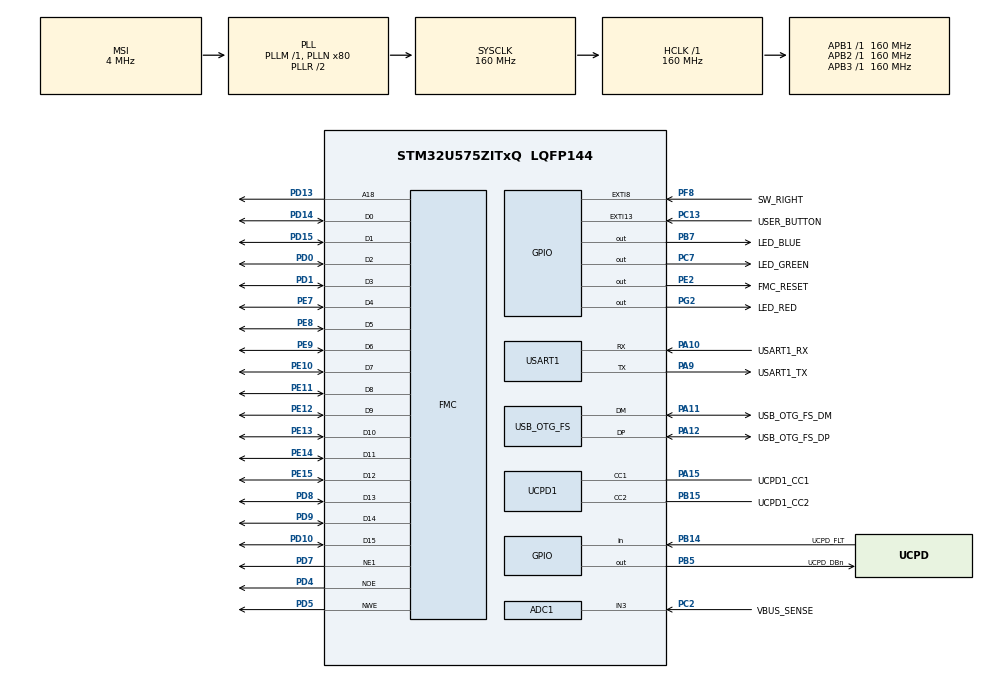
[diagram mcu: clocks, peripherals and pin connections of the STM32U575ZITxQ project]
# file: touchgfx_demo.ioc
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ADC1.NbrOfConversion=1
ADC1.Resolution=ADC_RESOLUTION_14B
ADC1.master=1
CORTEX_M33_NS.userName=CORTEX_M33
DMA2D.ColorMode=DMA2D_OUTPUT_RGB565
FMC.AddressSetupTime1=7
FMC.DataHoldTime1=3
FMC.DataSetupTime1=3
FMC.WriteFifo1=FMC_WRITE_FIFO_DISABLE
Mcu.Family=STM32U5
Mcu.Name=STM32U575ZITxQ
Mcu.Package=LQFP144
NVIC.EXTI13_IRQn=true\:0\:0\:false\:false\:true\:false\:true\:true\:true
NVIC.EXTI8_IRQn=true\:0\:0\:false\:false\:true\:false\:true\:true\:true
NVIC.OTG_FS_IRQn=true\:0\:0\:false\:false\:true\:false\:true\:true\:true
NVIC.PriorityGroup=NVIC_PRIORITYGROUP_3
NVIC.TIM1_UP_IRQn=true\:7\:0\:false\:false\:true\:false\:false\:true\:true
NVIC.TimeBase=TIM1_UP_IRQn
NVIC.TimeBaseIP=TIM1
PA10.GPIO_Label=USART1_RX
PA10.GPIO_PuPd=GPIO_PULLDOWN
PA10.GPIO_Speed=GPIO_SPEED_FREQ_VERY_HIGH
PA10.Mode=Asynchronous
PA10.Signal=USART1_RX
PA11.GPIO_Label=USB_OTG_FS_DM
PA11.GPIO_Speed=GPIO_SPEED_FREQ_VERY_HIGH
PA11.Mode=Device_Only
PA11.Signal=USB_OTG_FS_DM
PA12.GPIO_Label=USB_OTG_FS_DP
PA12.GPIO_Speed=GPIO_SPEED_FREQ_VERY_HIGH
PA12.Mode=Device_Only
PA12.Signal=USB_OTG_FS_DP
PA13\ (JTMS/SWDIO).Mode=Trace_Asynchronous_SW
PA13\ (JTMS/SWDIO).Signal=DEBUG_JTMS-SWDIO
PA14\ (JTCK/SWCLK).Mode=Trace_Asynchronous_SW
PA14\ (JTCK/SWCLK).Signal=DEBUG_JTCK-SWCLK
PA15\ (JTDI).GPIO_Label=UCPD1_CC1
PA15\ (JTDI).Mode=Sink_AllSignals
PA15\ (JTDI).Signal=UCPD1_CC1
PA9.GPIO_Label=USART1_TX
PA9.GPIO_PuPd=GPIO_PULLDOWN
PA9.GPIO_Speed=GPIO_SPEED_FREQ_VERY_HIGH
PA9.Mode=Asynchronous
PA9.Signal=USART1_TX
PB14.GPIO_Label=UCPD_FLT
PB14.Signal=GPIO_Input
PB15.GPIO_Label=UCPD1_CC2
PB15.Mode=Sink_AllSignals
PB15.Signal=UCPD1_CC2
PB3\ (JTDO/TRACESWO).Mode=Trace_Asynchronous_SW
PB3\ (JTDO/TRACESWO).Signal=DEBUG_JTDO-SWO
PB5.GPIO_Label=UCPD_DBn
PB5.Signal=GPIO_Output
PB7.GPIO_Label=LED_BLUE
PB7.GPIO_ModeDefaultOutputPP=GPIO_MODE_OUTPUT_PP
PB7.GPIO_PuPd=GPIO_PULLUP
PB7.GPIO_Speed=GPIO_SPEED_FREQ_HIGH
PB7.Signal=GPIO_Output
PC13.GPIO_Label=USER_BUTTON
PC13.GPIO_ModeDefaultEXTI=GPIO_MODE_IT_FALLING
PC13.Signal=GPXTI13
PC14-OSC32_IN\ (PC14).Mode=LSE-External-Oscillator
PC14-OSC32_IN\ (PC14).Signal=RCC_OSC32_IN
PC15-OSC32_OUT\ (PC15).Mode=LSE-External-Oscillator
PC15-OSC32_OUT\ (PC15).Signal=RCC_OSC32_OUT
PC2.GPIO_Label=VBUS_SENSE
PC2.Mode=IN3-Single-Ended
PC2.Signal=ADC1_IN3
PC7.GPIO_Label=LED_GREEN
PC7.GPIO_PuPd=GPIO_PULLUP
PC7.GPIO_Speed=GPIO_SPEED_FREQ_HIGH
PC7.Signal=GPIO_Output
PD0.Signal=FMC_D2_DA2
PD1.Signal=FMC_D3_DA3
PD10.Signal=FMC_D15_DA15
PD13.Signal=FMC_A18
PD14.Signal=FMC_D0_DA0
PD15.Signal=FMC_D1_DA1
PD4.Signal=FMC_NOE
PD5.Signal=FMC_NWE
PD7.Mode=NorPsramChipSelect1_1
PD7.Signal=FMC_NE1
PD8.Signal=FMC_D13_DA13
PD9.Signal=FMC_D14_DA14
PE10.Signal=FMC_D7_DA7
PE11.Signal=FMC_D8_DA8
PE12.Signal=FMC_D9_DA9
PE13.Signal=FMC_D10_DA10
PE14.Signal=FMC_D11_DA11
PE15.Signal=FMC_D12_DA12
PE2.GPIO_Label=FMC_RESET
PE2.Signal=GPIO_Output
PE7.Signal=FMC_D4_DA4
PE8.Signal=FMC_D5_DA5
PE9.Signal=FMC_D6_DA6
PF8.GPIO_Label=SW_RIGHT
PF8.Signal=GPXTI8
PG2.GPIO_Label=LED_RED
PG2.GPIO_ModeDefaultOutputPP=GPIO_MODE_OUTPUT_PP
PG2.GPIO_PuPd=GPIO_PULLUP
PG2.GPIO_Speed=GPIO_SPEED_FREQ_HIGH
PG2.Signal=GPIO_Output
PWR.PowerMode=PWR_SMPS_SUPPLY
ProjectManager.HeapSize=0x200
ProjectManager.StackSize=0x400
ProjectManager.TargetToolchain=STM32CubeIDE
RCC.ADCFreq_Value=16000000
RCC.AHBFreq_Value=160000000
RCC.APB1Freq_Value=160000000
RCC.APB1TimFreq_Value=160000000
RCC.APB2Freq_Value=160000000
RCC.APB2TimFreq_Value=160000000
RCC.APB3Freq_Value=160000000
RCC.CortexFreq_Value=160000000
RCC.DACCLockSelectionVirtual=RCC_DAC1CLKSOURCE_LSI
RCC.DACCLockSelectionVirtualString=RCC_DAC1CLKSOURCE_LSI
RCC.EPOD_VALUE=4000000
RCC.HCLKFreq_Value=160000000
RCC.HSE_VALUE=16000000
RCC.HSI48_VALUE=48000000
RCC.HSI_VALUE=16000000
RCC.LSIDIV_VALUE=32000
RCC.MSI_VALUE=4000000
RCC.PLLN=80
RCC.SYSCLKFreq_VALUE=160000000
RCC.SYSCLKSource=RCC_SYSCLKSOURCE_PLLCLK
RCC.USBFreq_Value=48000000
RCC.VCOOutputFreq_Value=320000000
SH.FMC_A18.0=FMC_A18,A18_1
SH.FMC_D0_DA0.0=FMC_D0,16b-d1
SH.FMC_D10_DA10.0=FMC_D10,16b-d1
SH.FMC_D11_DA11.0=FMC_D11,16b-d1
SH.FMC_D12_DA12.0=FMC_D12,16b-d1
SH.FMC_D13_DA13.0=FMC_D13,16b-d1
SH.FMC_D14_DA14.0=FMC_D14,16b-d1
SH.FMC_D15_DA15.0=FMC_D15,16b-d1
SH.FMC_D1_DA1.0=FMC_D1,16b-d1
SH.FMC_D2_DA2.0=FMC_D2,16b-d1
SH.FMC_D3_DA3.0=FMC_D3,16b-d1
SH.FMC_D4_DA4.0=FMC_D4,16b-d1
SH.FMC_D5_DA5.0=FMC_D5,16b-d1
SH.FMC_D6_DA6.0=FMC_D6,16b-d1
SH.FMC_D7_DA7.0=FMC_D7,16b-d1
SH.FMC_D8_DA8.0=FMC_D8,16b-d1
SH.FMC_D9_DA9.0=FMC_D9,16b-d1
SH.FMC_NOE.0=FMC_NOE,Lcd1
SH.FMC_NWE.0=FMC_NWE,Lcd1
STMicroelectronics.X-CUBE-TOUCHGFX.4.20.0.ApplicationCcGraphicsJjApplication=TouchGFXOoGenerator
STMicroelectronics.X-CUBE-TOUCHGFX.4.20.0.tgfx_custom_height=320
STMicroelectronics.X-CUBE-TOUCHGFX.4.20.0.tgfx_custom_width=240
STMicroelectronics.X-CUBE-TOUCHGFX.4.20.0.tgfx_display_interface=disp_fmc
STMicroelectronics.X-CUBE-TOUCHGFX.4.20.0.tgfx_hardware_accelerator=dma_2d
STMicroelectronics.X-CUBE-TOUCHGFX.4.20.0.tgfx_location=Allocate
STMicroelectronics.X-CUBE-TOUCHGFX.4.20.0.tgfx_oswrapper=ThreadX
STMicroelectronics.X-CUBE-TOUCHGFX.4.20.0.tgfx_pixel_format=RGB565\:16
STMicroelectronics.X-CUBE-TOUCHGFX.4.20.0_IsPackSelfContextualization=true
THREADX.AZRTOS_APP_MEM_ALLOCATION_METHOD=0
THREADX.TX_TIMER_TICKS_PER_SECOND=100
USART1.VirtualMode-Asynchronous=VM_ASYNC
USB_OTG_FS.VirtualMode=Device_Only
VP_CRC_VS_CRC.Mode=CRC_Activate
VP_DMA2D_VS_DMA2D.Mode=DMA2D_Activate
VP_ICACHE_VS_ENABLE_ICACHE_MEMORY.Mode=Memoryregions
VP_LPBAMQUEUE_VS_QUEUE.Mode=QUEUEMODE
VP_LPBAM_VS_SIG1.Mode=SmartRun
VP_LPBAM_VS_SIG4.Mode=LPDMA1
VP_PWR_VS_DBSignals.Mode=DisableDeadBatterySignals
VP_PWR_VS_LPOM.Mode=PowerOptimisation
VP_PWR_VS_SECSignals.Mode=Security/Privilege
VP_STMicroelectronics.X-CUBE-TOUCHGFX_VS_GraphicsJjApplication_4.20.0.Mode=GraphicsJjApplication
VP_SYS_VS_tim1.Mode=TIM1
VP_THREADX_VS_RTOSJjThreadXJjCoreJjDefault.Mode=Core_Default
VP_THREADX_VS_RTOSJjThreadXJjLow_Power_Support.Mode=Low_Power_Support
VP_THREADX_VS_RTOSJjThreadXJjPerformance_InfoJjDefault.Mode=Performance_Default
VP_THREADX_VS_RTOSJjThreadXJjTraceX_SupportJjDefault.Mode=TraceX_Support_Default
board=NUCLEO-U575ZI-Q

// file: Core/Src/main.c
/* USER CODE BEGIN Header */
/**
  ******************************************************************************
  * @file           : main.c
  * @brief          : Main program body
  ******************************************************************************
  * @attention
  *
  * Copyright (c) 2022 STMicroelectronics.
  * All rights reserved.
  *
  * This software is licensed under terms that can be found in the LICENSE file
  * in the root directory of this software component.
  * If no LICENSE file comes with this software, it is provided AS-IS.
  *
  ******************************************************************************
  */
/* USER CODE END Header */
#include "main.h"
#include "app_threadx.h"
#include "app_touchgfx.h"

/* USER CODE BEGIN Includes */
#include "my_image.h"
/* USER CODE END Includes */

ADC_HandleTypeDef hadc1;

CRC_HandleTypeDef hcrc;

DMA2D_HandleTypeDef hdma2d;

UART_HandleTypeDef huart1;

PCD_HandleTypeDef hpcd_USB_OTG_FS;

SRAM_HandleTypeDef hsram1;

void SystemClock_Config(void);
static void SystemPower_Config(void);
static void MX_GPIO_Init(void);
static void MX_ADC1_Init(void);
static void MX_UCPD1_Init(void);
static void MX_USART1_UART_Init(void);
static void MX_USB_OTG_FS_PCD_Init(void);
static void MX_FMC_Init(void);
static void MX_CRC_Init(void);
static void MX_ICACHE_Init(void);
static void MX_DMA2D_Init(void);

int main(void)
{

  /* MCU Configuration--------------------------------------------------------*/

  /* Reset of all peripherals, Initializes the Flash interface and the Systick. */
  HAL_Init();

  /* Configure the system clock */
  SystemClock_Config();

  /* Configure the System Power */
  SystemPower_Config();

  /* Initialize all configured peripherals */
  MX_GPIO_Init();
  MX_ADC1_Init();
  MX_UCPD1_Init();
  MX_USART1_UART_Init();
  MX_USB_OTG_FS_PCD_Init();
  MX_FMC_Init();
  MX_CRC_Init();
  MX_ICACHE_Init();
  MX_DMA2D_Init();
  /* Call PreOsInit function */
  MX_TouchGFX_PreOSInit();
  /* USER CODE BEGIN 2 */

  ST7789V_init();
  ST7789V_SEND_COMMAND(ST7789V_RAMWR);
  /* USER CODE END 2 */

  MX_ThreadX_Init();

  /* We should never get here as control is now taken by the scheduler */
  /* Infinite loop */
  /* USER CODE BEGIN WHILE */
  int round_num = 0;

  while (1)
  {
    /* USER CODE END WHILE */

    /* USER CODE BEGIN 3 */

	  HAL_GPIO_WritePin(LED_BLUE_GPIO_Port, LED_BLUE_Pin, 1);
	  HAL_Delay(500);
	  HAL_GPIO_WritePin(LED_BLUE_GPIO_Port, LED_BLUE_Pin, 0);
	  HAL_Delay(3000);

	  if(round_num == 0)
	  {/*
		  ST7789V_SEND_COMMAND(ST7789V_RAMWR);

		  ST7789V_SEND_COMMAND(ST7789V_CASET);
		  ST7789V_SEND_DATA(0x00);
		  ST7789V_SEND_DATA(0x00);
		  ST7789V_SEND_DATA(0x00);
		  ST7789V_SEND_DATA(0xF0);

		  ST7789V_SEND_COMMAND(ST7789V_RAMWR);

		  ST7789V_SEND_COMMAND(ST7789V_RASET);
		  ST7789V_SEND_DATA(0x00);
		  ST7789V_SEND_DATA(0x14);
		  ST7789V_SEND_DATA(0x01);
		  ST7789V_SEND_DATA(0x40);

		  ST7789V_SEND_COMMAND(ST7789V_RAMWR);

		  for(int i = 0; i<ST7789V_PIXEL_COUNT; i++)
		  {
			  ST7789V_SEND_DATA(COLOR_RED);
		  }*/
		  ST7789V_fill(COLOR_RED);
		  round_num++;
		  HAL_Delay(500);
	  }
	  else
	  {
		  //ST7789V_fillCircle(100, 100, 50, COLOR_BLACK);
		  ST7789V_drawCircle(100, 100, 50, COLOR_WHITE);
		  ST7789V_drawFastVLine(150, 80, 100, COLOR_WHITE);
//		  ST7789V_drawLine(10, 10, 100, 10, COLOR_BLACK);
//		  ST7789V_drawLine(10, 10, 50, 100, COLOR_WHITE);
//		  ST7789V_drawLine(50, 100, 100, 10, COLOR_GREEN);
		  //ST7789V_drawTriangle(10, 10, 100, 10, 50, 200, COLOR_BLACK);
		  //ST7789V_fillRect(100, 100, 200, 300, COLOR_BLACK);
/*		  for(int i = 0; i < 100; i++)
		  {
			  for(int j = 0; j<200; j++)
			  {
				  ST7789V_drawPixel(i, j, COLOR_WHITE);
			  }
		  }
*/		  HAL_Delay(500);
		  round_num = 0;
	  }
/*
	  else if(round_num == 1)
	  {
	  	  for(int i = 0; i<ST7789V_PIXEL_COUNT; i++)
	  	  {
	  		  ST7789V_SEND_DATA(COLOR_GREEN);
	  	  }
	  	  round_num++;
	  }

	  else if(round_num == 2)
	  {
	  	  for(int i = 0; i<ST7789V_PIXEL_COUNT; i++)
	  	  {
	  		  ST7789V_SEND_DATA(COLOR_BLUE);
	  	  }
	  	  round_num++;
	  }

	  else if(round_num == 3)
	  {
	   	  for(int i = 0; i<ST7789V_PIXEL_COUNT; i++)
	   	  {
	   		  ST7789V_SEND_DATA(COLOR_WHITE);
	   	  }
	   	  round_num++;
	   	  round_num = 0;
	  }
/*
	  else if(round_num == 1)
	  {
*/	  	  for(int i = 0; i<ST7789V_PIXEL_COUNT; i++)
	   	  {
	   		  ST7789V_SEND_DATA(kuhmuh[i]);
	   	  }
	  	  HAL_Delay(500);
	   	  //round_num = 0;
/*	  }

/*	  for(int i = 0; i<ST7789V_PIXEL_COUNT/5; i++)
	  	   	  {
	  	   		  ST7789V_SEND_DATA(COLOR_BLACK);
	  	   	  }

	  for(int i = (ST7789V_PIXEL_COUNT/5)+1; i<(2*ST7789V_PIXEL_COUNT/5); i++)
	  	   	  {
	  	   		  ST7789V_SEND_DATA(COLOR_WHITE);
	  	   	  }
	  for(int i = (2*ST7789V_PIXEL_COUNT/5)+1; i<(3*ST7789V_PIXEL_COUNT/5); i++)
	  	  	  {
	 	   		  ST7789V_SEND_DATA(COLOR_RED);
	  	  	   }

	  for(int i = (3*ST7789V_PIXEL_COUNT/5)+1; i<(4*ST7789V_PIXEL_COUNT/5); i++)
	  	   	  {
	  	  		 ST7789V_SEND_DATA(COLOR_GREEN);
	  	   	  }
	  for(int i = (4*ST7789V_PIXEL_COUNT/5)+1; i<ST7789V_PIXEL_COUNT; i++)
	  	  	  {
	  	  		 ST7789V_SEND_DATA(COLOR_BLUE);
	  	  	  }
	  	  	  */

	  HAL_GPIO_WritePin(LED_RED_GPIO_Port, LED_RED_Pin, 1);
	  HAL_Delay(500);
	  HAL_GPIO_WritePin(LED_RED_GPIO_Port, LED_RED_Pin, 0);

  }
  /* USER CODE END 3 */
}

void SystemClock_Config(void)
{
  RCC_OscInitTypeDef RCC_OscInitStruct = {0};
  RCC_ClkInitTypeDef RCC_ClkInitStruct = {0};

  /** Configure the main internal regulator output voltage
  */
  if (HAL_PWREx_ControlVoltageScaling(PWR_REGULATOR_VOLTAGE_SCALE1) != HAL_OK)
  {
    Error_Handler();
  }

  /** Initializes the CPU, AHB and APB buses clocks
  */
  RCC_OscInitStruct.OscillatorType = RCC_OSCILLATORTYPE_HSI48|RCC_OSCILLATORTYPE_HSI
                              |RCC_OSCILLATORTYPE_MSI;
  RCC_OscInitStruct.HSIState = RCC_HSI_ON;
  RCC_OscInitStruct.HSI48State = RCC_HSI48_ON;
  RCC_OscInitStruct.HSICalibrationValue = RCC_HSICALIBRATION_DEFAULT;
  RCC_OscInitStruct.MSIState = RCC_MSI_ON;
  RCC_OscInitStruct.MSICalibrationValue = RCC_MSICALIBRATION_DEFAULT;
  RCC_OscInitStruct.MSIClockRange = RCC_MSIRANGE_4;
  RCC_OscInitStruct.PLL.PLLState = RCC_PLL_ON;
  RCC_OscInitStruct.PLL.PLLSource = RCC_PLLSOURCE_MSI;
  RCC_OscInitStruct.PLL.PLLMBOOST = RCC_PLLMBOOST_DIV1;
  RCC_OscInitStruct.PLL.PLLM = 1;
  RCC_OscInitStruct.PLL.PLLN = 80;
  RCC_OscInitStruct.PLL.PLLP = 2;
  RCC_OscInitStruct.PLL.PLLQ = 2;
  RCC_OscInitStruct.PLL.PLLR = 2;
  RCC_OscInitStruct.PLL.PLLRGE = RCC_PLLVCIRANGE_0;
  RCC_OscInitStruct.PLL.PLLFRACN = 0;
  if (HAL_RCC_OscConfig(&RCC_OscInitStruct) != HAL_OK)
  {
    Error_Handler();
  }

  /** Initializes the CPU, AHB and APB buses clocks
  */
  RCC_ClkInitStruct.ClockType = RCC_CLOCKTYPE_HCLK|RCC_CLOCKTYPE_SYSCLK
                              |RCC_CLOCKTYPE_PCLK1|RCC_CLOCKTYPE_PCLK2
                              |RCC_CLOCKTYPE_PCLK3;
  RCC_ClkInitStruct.SYSCLKSource = RCC_SYSCLKSOURCE_PLLCLK;
  RCC_ClkInitStruct.AHBCLKDivider = RCC_SYSCLK_DIV1;
  RCC_ClkInitStruct.APB1CLKDivider = RCC_HCLK_DIV1;
  RCC_ClkInitStruct.APB2CLKDivider = RCC_HCLK_DIV1;
  RCC_ClkInitStruct.APB3CLKDivider = RCC_HCLK_DIV1;

  if (HAL_RCC_ClockConfig(&RCC_ClkInitStruct, FLASH_LATENCY_4) != HAL_OK)
  {
    Error_Handler();
  }
}

/**
  * @brief Power Configuration
  * @retval None
  */
static void SystemPower_Config(void)
{
  HAL_PWREx_EnableVddIO2();

  /*
   * Switch to SMPS regulator instead of LDO
   */
  if (HAL_PWREx_ConfigSupply(PWR_SMPS_SUPPLY) != HAL_OK)
  {
    Error_Handler();
  }
}

static void MX_ADC1_Init(void)
{

  /** Common config
  */
  hadc1.Instance = ADC1;
  hadc1.Init.ClockPrescaler = ADC_CLOCK_ASYNC_DIV1;
  hadc1.Init.Resolution = ADC_RESOLUTION_14B;
  hadc1.Init.GainCompensation = 0;
  hadc1.Init.ScanConvMode = ADC_SCAN_DISABLE;
  hadc1.Init.EOCSelection = ADC_EOC_SINGLE_CONV;
  hadc1.Init.LowPowerAutoWait = DISABLE;
  hadc1.Init.ContinuousConvMode = DISABLE;
  hadc1.Init.NbrOfConversion = 1;
  hadc1.Init.DiscontinuousConvMode = DISABLE;
  hadc1.Init.DMAContinuousRequests = DISABLE;
  hadc1.Init.TriggerFrequencyMode = ADC_TRIGGER_FREQ_HIGH;
  hadc1.Init.Overrun = ADC_OVR_DATA_PRESERVED;
  hadc1.Init.LeftBitShift = ADC_LEFTBITSHIFT_NONE;
  hadc1.Init.ConversionDataManagement = ADC_CONVERSIONDATA_DR;
  hadc1.Init.OversamplingMode = DISABLE;
  if (HAL_ADC_Init(&hadc1) != HAL_OK)
  {
    Error_Handler();
  }

}

static void MX_CRC_Init(void)
{

  hcrc.Instance = CRC;
  hcrc.Init.DefaultPolynomialUse = DEFAULT_POLYNOMIAL_ENABLE;
  hcrc.Init.DefaultInitValueUse = DEFAULT_INIT_VALUE_ENABLE;
  hcrc.Init.InputDataInversionMode = CRC_INPUTDATA_INVERSION_NONE;
  hcrc.Init.OutputDataInversionMode = CRC_OUTPUTDATA_INVERSION_DISABLE;
  hcrc.InputDataFormat = CRC_INPUTDATA_FORMAT_BYTES;
  if (HAL_CRC_Init(&hcrc) != HAL_OK)
  {
    Error_Handler();
  }

}

static void MX_DMA2D_Init(void)
{

  hdma2d.Instance = DMA2D;
  hdma2d.Init.Mode = DMA2D_M2M;
  hdma2d.Init.ColorMode = DMA2D_OUTPUT_RGB565;
  hdma2d.Init.OutputOffset = 0;
  hdma2d.Init.BytesSwap = DMA2D_BYTES_REGULAR;
  hdma2d.Init.LineOffsetMode = DMA2D_LOM_PIXELS;
  hdma2d.LayerCfg[1].InputOffset = 0;
  hdma2d.LayerCfg[1].InputColorMode = DMA2D_INPUT_RGB565;
  hdma2d.LayerCfg[1].AlphaMode = DMA2D_NO_MODIF_ALPHA;
  hdma2d.LayerCfg[1].InputAlpha = 0;
  hdma2d.LayerCfg[1].AlphaInverted = DMA2D_REGULAR_ALPHA;
  hdma2d.LayerCfg[1].RedBlueSwap = DMA2D_RB_REGULAR;
  if (HAL_DMA2D_Init(&hdma2d) != HAL_OK)
  {
    Error_Handler();
  }
  if (HAL_DMA2D_ConfigLayer(&hdma2d, 1) != HAL_OK)
  {
    Error_Handler();
  }

}

static void MX_ICACHE_Init(void)
{

  ICACHE_RegionConfigTypeDef pRegionConfig = {0};

  /** Configure and enable a region for memory remapping.
  */
  if (HAL_ICACHE_Disable() != HAL_OK)
  {
    Error_Handler();
  }
  pRegionConfig.BaseAddress = 0x0;
  pRegionConfig.RemapAddress = 0x0;
  pRegionConfig.Size = ICACHE_REGIONSIZE_2MB;
  pRegionConfig.TrafficRoute = ICACHE_MASTER1_PORT;
  pRegionConfig.OutputBurstType = ICACHE_OUTPUT_BURST_WRAP;
  if (HAL_ICACHE_EnableRemapRegion(ICACHE_REGION_0, &pRegionConfig) != HAL_OK)
  {
    Error_Handler();
  }

}

static void MX_UCPD1_Init(void)
{

  LL_GPIO_InitTypeDef GPIO_InitStruct = {0};

  /* Peripheral clock enable */
  LL_APB1_GRP2_EnableClock(LL_APB1_GRP2_PERIPH_UCPD1);

  LL_AHB2_GRP1_EnableClock(LL_AHB2_GRP1_PERIPH_GPIOB);
  LL_AHB2_GRP1_EnableClock(LL_AHB2_GRP1_PERIPH_GPIOA);
  /**UCPD1 GPIO Configuration
  PB15   ------> UCPD1_CC2
  PA15 (JTDI)   ------> UCPD1_CC1
  */
  GPIO_InitStruct.Pin = LL_GPIO_PIN_15;
  GPIO_InitStruct.Mode = LL_GPIO_MODE_ANALOG;
  GPIO_InitStruct.Pull = LL_GPIO_PULL_NO;
  LL_GPIO_Init(GPIOB, &GPIO_InitStruct);

  GPIO_InitStruct.Pin = LL_GPIO_PIN_15;
  GPIO_InitStruct.Mode = LL_GPIO_MODE_ANALOG;
  GPIO_InitStruct.Pull = LL_GPIO_PULL_NO;
  LL_GPIO_Init(GPIOA, &GPIO_InitStruct);

}

static void MX_USART1_UART_Init(void)
{

  huart1.Instance = USART1;
  huart1.Init.BaudRate = 115200;
  huart1.Init.WordLength = UART_WORDLENGTH_8B;
  huart1.Init.StopBits = UART_STOPBITS_1;
  huart1.Init.Parity = UART_PARITY_NONE;
  huart1.Init.Mode = UART_MODE_TX_RX;
  huart1.Init.HwFlowCtl = UART_HWCONTROL_NONE;
  huart1.Init.OverSampling = UART_OVERSAMPLING_16;
  huart1.Init.OneBitSampling = UART_ONE_BIT_SAMPLE_DISABLE;
  huart1.Init.ClockPrescaler = UART_PRESCALER_DIV1;
  huart1.AdvancedInit.AdvFeatureInit = UART_ADVFEATURE_NO_INIT;
  if (HAL_UART_Init(&huart1) != HAL_OK)
  {
    Error_Handler();
  }
  if (HAL_UARTEx_SetTxFifoThreshold(&huart1, UART_TXFIFO_THRESHOLD_1_8) != HAL_OK)
  {
    Error_Handler();
  }
  if (HAL_UARTEx_SetRxFifoThreshold(&huart1, UART_RXFIFO_THRESHOLD_1_8) != HAL_OK)
  {
    Error_Handler();
  }
  if (HAL_UARTEx_DisableFifoMode(&huart1) != HAL_OK)
  {
    Error_Handler();
  }

}

static void MX_USB_OTG_FS_PCD_Init(void)
{

  hpcd_USB_OTG_FS.Instance = USB_OTG_FS;
  hpcd_USB_OTG_FS.Init.dev_endpoints = 6;
  hpcd_USB_OTG_FS.Init.phy_itface = PCD_PHY_EMBEDDED;
  hpcd_USB_OTG_FS.Init.Sof_enable = DISABLE;
  hpcd_USB_OTG_FS.Init.low_power_enable = DISABLE;
  hpcd_USB_OTG_FS.Init.lpm_enable = DISABLE;
  hpcd_USB_OTG_FS.Init.battery_charging_enable = DISABLE;
  hpcd_USB_OTG_FS.Init.use_dedicated_ep1 = DISABLE;
  hpcd_USB_OTG_FS.Init.vbus_sensing_enable = DISABLE;
  if (HAL_PCD_Init(&hpcd_USB_OTG_FS) != HAL_OK)
  {
    Error_Handler();
  }

}

/* FMC initialization function */
static void MX_FMC_Init(void)
{

  FMC_NORSRAM_TimingTypeDef Timing = {0};

  /** Perform the SRAM1 memory initialization sequence
  */
  hsram1.Instance = FMC_NORSRAM_DEVICE;
  hsram1.Extended = FMC_NORSRAM_EXTENDED_DEVICE;
  /* hsram1.Init */
  hsram1.Init.NSBank = FMC_NORSRAM_BANK1;
  hsram1.Init.DataAddressMux = FMC_DATA_ADDRESS_MUX_DISABLE;
  hsram1.Init.MemoryType = FMC_MEMORY_TYPE_SRAM;
  hsram1.Init.MemoryDataWidth = FMC_NORSRAM_MEM_BUS_WIDTH_16;
  hsram1.Init.BurstAccessMode = FMC_BURST_ACCESS_MODE_DISABLE;
  hsram1.Init.WaitSignalPolarity = FMC_WAIT_SIGNAL_POLARITY_LOW;
  hsram1.Init.WaitSignalActive = FMC_WAIT_TIMING_BEFORE_WS;
  hsram1.Init.WriteOperation = FMC_WRITE_OPERATION_ENABLE;
  hsram1.Init.WaitSignal = FMC_WAIT_SIGNAL_DISABLE;
  hsram1.Init.ExtendedMode = FMC_EXTENDED_MODE_DISABLE;
  hsram1.Init.AsynchronousWait = FMC_ASYNCHRONOUS_WAIT_DISABLE;
  hsram1.Init.WriteBurst = FMC_WRITE_BURST_DISABLE;
  hsram1.Init.ContinuousClock = FMC_CONTINUOUS_CLOCK_SYNC_ONLY;
  hsram1.Init.WriteFifo = FMC_WRITE_FIFO_DISABLE;
  hsram1.Init.NBLSetupTime = 0;
  hsram1.Init.PageSize = FMC_PAGE_SIZE_NONE;
  hsram1.Init.MaxChipSelectPulse = DISABLE;
  /* Timing */
  Timing.AddressSetupTime = 7;
  Timing.AddressHoldTime = 15;
  Timing.DataSetupTime = 3;
  Timing.DataHoldTime = 3;
  Timing.BusTurnAroundDuration = 15;
  Timing.CLKDivision = 16;
  Timing.DataLatency = 17;
  Timing.AccessMode = FMC_ACCESS_MODE_A;
  /* ExtTiming */

  if (HAL_SRAM_Init(&hsram1, &Timing, NULL) != HAL_OK)
  {
    Error_Handler( );
  }

}

static void MX_GPIO_Init(void)
{
  GPIO_InitTypeDef GPIO_InitStruct = {0};

  /* GPIO Ports Clock Enable */
  __HAL_RCC_GPIOE_CLK_ENABLE();
  __HAL_RCC_GPIOC_CLK_ENABLE();
  __HAL_RCC_GPIOB_CLK_ENABLE();
  __HAL_RCC_GPIOD_CLK_ENABLE();
  __HAL_RCC_GPIOG_CLK_ENABLE();
  __HAL_RCC_GPIOA_CLK_ENABLE();

  /*Configure GPIO pin Output Level */
  HAL_GPIO_WritePin(FMC_RESET_GPIO_Port, FMC_RESET_Pin, GPIO_PIN_RESET);

  /*Configure GPIO pin Output Level */
  HAL_GPIO_WritePin(LED_RED_GPIO_Port, LED_RED_Pin, GPIO_PIN_RESET);

  /*Configure GPIO pin Output Level */
  HAL_GPIO_WritePin(LED_GREEN_GPIO_Port, LED_GREEN_Pin, GPIO_PIN_RESET);

  /*Configure GPIO pin Output Level */
  HAL_GPIO_WritePin(GPIOB, UCPD_DBn_Pin|LED_BLUE_Pin, GPIO_PIN_RESET);

  /*Configure GPIO pin : FMC_RESET_Pin */
  GPIO_InitStruct.Pin = FMC_RESET_Pin;
  GPIO_InitStruct.Mode = GPIO_MODE_OUTPUT_PP;
  GPIO_InitStruct.Pull = GPIO_NOPULL;
  GPIO_InitStruct.Speed = GPIO_SPEED_FREQ_LOW;
  HAL_GPIO_Init(FMC_RESET_GPIO_Port, &GPIO_InitStruct);

  /*Configure GPIO pin : USER_BUTTON_Pin */
  GPIO_InitStruct.Pin = USER_BUTTON_Pin;
  GPIO_InitStruct.Mode = GPIO_MODE_IT_FALLING;
  GPIO_InitStruct.Pull = GPIO_NOPULL;
  HAL_GPIO_Init(USER_BUTTON_GPIO_Port, &GPIO_InitStruct);

  /*Configure GPIO pin : UCPD_FLT_Pin */
  GPIO_InitStruct.Pin = UCPD_FLT_Pin;
  GPIO_InitStruct.Mode = GPIO_MODE_INPUT;
  GPIO_InitStruct.Pull = GPIO_NOPULL;
  HAL_GPIO_Init(UCPD_FLT_GPIO_Port, &GPIO_InitStruct);

  /*Configure GPIO pin : LED_RED_Pin */
  GPIO_InitStruct.Pin = LED_RED_Pin;
  GPIO_InitStruct.Mode = GPIO_MODE_OUTPUT_PP;
  GPIO_InitStruct.Pull = GPIO_PULLUP;
  GPIO_InitStruct.Speed = GPIO_SPEED_FREQ_HIGH;
  HAL_GPIO_Init(LED_RED_GPIO_Port, &GPIO_InitStruct);

  /*Configure GPIO pin : LED_GREEN_Pin */
  GPIO_InitStruct.Pin = LED_GREEN_Pin;
  GPIO_InitStruct.Mode = GPIO_MODE_OUTPUT_PP;
  GPIO_InitStruct.Pull = GPIO_PULLUP;
  GPIO_InitStruct.Speed = GPIO_SPEED_FREQ_HIGH;
  HAL_GPIO_Init(LED_GREEN_GPIO_Port, &GPIO_InitStruct);

  /*Configure GPIO pin : UCPD_DBn_Pin */
  GPIO_InitStruct.Pin = UCPD_DBn_Pin;
  GPIO_InitStruct.Mode = GPIO_MODE_OUTPUT_PP;
  GPIO_InitStruct.Pull = GPIO_NOPULL;
  GPIO_InitStruct.Speed = GPIO_SPEED_FREQ_LOW;
  HAL_GPIO_Init(UCPD_DBn_GPIO_Port, &GPIO_InitStruct);

  /*Configure GPIO pin : LED_BLUE_Pin */
  GPIO_InitStruct.Pin = LED_BLUE_Pin;
  GPIO_InitStruct.Mode = GPIO_MODE_OUTPUT_PP;
  GPIO_InitStruct.Pull = GPIO_PULLUP;
  GPIO_InitStruct.Speed = GPIO_SPEED_FREQ_HIGH;
  HAL_GPIO_Init(LED_BLUE_GPIO_Port, &GPIO_InitStruct);

}

void HAL_TIM_PeriodElapsedCallback(TIM_HandleTypeDef *htim)
{
  if (htim->Instance == TIM1) {
    HAL_IncTick();
  }
}

void Error_Handler(void)
{
  __disable_irq();
  while (1)
  {
  }
}
